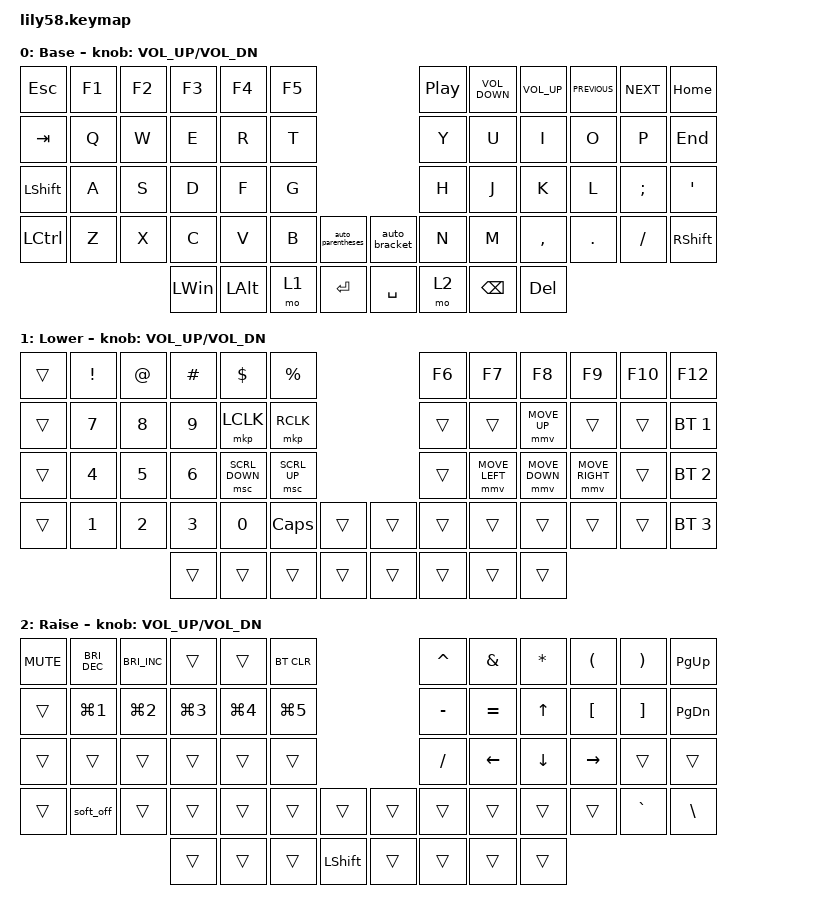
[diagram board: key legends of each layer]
/*
 * Copyright (c) 2020 The ZMK Contributors
 *
 * SPDX-License-Identifier: MIT
 */

#include <behaviors.dtsi>
#include <dt-bindings/zmk/bt.h>
#include <dt-bindings/zmk/keys.h>
#include <dt-bindings/zmk/pointing.h>

/ {
    macros {
        auto_parentheses: auto_parentheses {
            compatible = "zmk,behavior-macro";
            #binding-cells = <0>;
            bindings = <&kp LEFT_PARENTHESIS &kp RIGHT_PARENTHESIS &kp F2 &kp LEFT_ARROW &kp F2>;
            label = "AUTO_PARENTHESES";
        };

        auto_bracket: auto_bracket {
            compatible = "zmk,behavior-macro";
            #binding-cells = <0>;
            bindings = <&kp LEFT_BRACKET &kp RIGHT_BRACKET &kp F2 &kp LEFT &kp F2>;
            label = "AUTO_BRACKET";
        };
    };

    keymap {
        compatible = "zmk,keymap";

        default_layer {
            // ------------------------------------------------------------------------------------------------------------
            // |  ESC  |  1  |  2  |  3   |  4   |  5   |                   |  6   |  7    |  8    |  9   |   0   |   `   |
            // |  TAB  |  Q  |  W  |  E   |  R   |  T   |                   |  Y   |  U    |  I    |  O   |   P   |   -   |
            // |  CTRL |  A  |  S  |  D   |  F   |  G   |                   |  H   |  J    |  K    |  L   |   ;   |   '   |
            // | SHIFT |  Z  |  X  |  C   |  V   |  B   |   "["  |  |  "]"  |  N   |  M    |  ,    |  .   |   /   | SHIFT |
            //                     | ALT  | GUI  | LOWER|  SPACE |  | ENTER | RAISE| BSPC  | GUI   |

            display-name = "Base";
            bindings = <
&kp ESC         &kp F1  &kp F2  &kp F3        &kp F4        &kp F5                                      &kp C_PLAY_PAUSE  &kp C_VOLUME_DOWN  &kp C_VOLUME_UP  &kp C_PREVIOUS  &kp C_NEXT  &kp HOME
&kp TAB         &kp Q   &kp W   &kp E         &kp R         &kp T                                       &kp Y             &kp U              &kp I            &kp O           &kp P       &kp END
&kp LEFT_SHIFT  &kp A   &kp S   &kp D         &kp F         &kp G                                       &kp H             &kp J              &kp K            &kp L           &kp SEMI    &kp SQT
&kp LCTRL       &kp Z   &kp X   &kp C         &kp V         &kp B   &auto_parentheses    &auto_bracket  &kp N             &kp M              &kp COMMA        &kp DOT         &kp FSLH    &kp RSHFT
                                &kp LEFT_WIN  &kp LEFT_ALT  &mo 1   &kp ENTER            &kp SPACE      &mo 2             &kp BSPC           &kp DELETE
            >;

            sensor-bindings = <&inc_dec_kp C_VOL_UP C_VOL_DN>;
        };

        lower_layer {
            // ------------------------------------------------------------------------------------------------------------
            // | BTCLR | BT1 | BT2 |  BT3 |  BT4 |  BT5 |                   |      |       |       |      |       |       |
            // |  F1   |  F2 |  F3 |  F4  |  F5  |  F6  |                   |  F7  |  F8   |  F9   |  F10 |  F11  |  F12  |
            // |   `   |  !  |  @  |  #   |  $   |  %   |                   |  ^   |  &    |  *    |  (   |   )   |   ~   |
            // |       |     |     |      |      |      |        |  |       |      |  _    |  +    |  {   |   }   |  "|"  |
            //                     |      |      |      |        |  |       |      |       |       |

            display-name = "Lower";
            bindings = <
&trans  &kp EXCLAMATION  &kp AT_SIGN   &kp POUND     &kp DOLLAR      &kp PERCENT                     &kp F6  &kp F7          &kp F8          &kp F9           &kp F10  &kp F12
&trans  &kp N7           &kp N8        &kp N9        &mkp LCLK       &mkp RCLK                       &trans  &trans          &mmv MOVE_UP    &trans           &trans   &bt BT_SEL 1
&trans  &kp NUMBER_4     &kp N5        &kp NUMBER_6  &msc SCRL_DOWN  &msc SCRL_UP                    &trans  &mmv MOVE_LEFT  &mmv MOVE_DOWN  &mmv MOVE_RIGHT  &trans   &bt BT_SEL 2
&trans  &kp NUMBER_1     &kp NUMBER_2  &kp NUMBER_3  &kp N0          &kp CAPSLOCK  &trans    &trans  &trans  &trans          &trans          &trans           &trans   &bt BT_SEL 3
                                       &trans        &trans          &trans        &trans    &trans  &trans  &trans          &trans
            >;

            sensor-bindings = <&inc_dec_kp C_VOL_UP C_VOL_DN>;
        };

        raise_layer {
            // ------------------------------------------------------------------------------------------------------------
            // |       |     |     |      |      |      |                   |      |       |       |      |       |       |
            // |   `   |  1  |  2  |  3   |  4   |  5   |                   |  6   |   7   |   8   |  9   |   0   |       |
            // |   F1  |  F2 |  F3 |  F4  |  F5  |  F6  |                   |      |   <-  |   v   |  ^   |  ->   |       |
            // |   F7  |  F8 |  F9 |  F10 |  F11 |  F12 |        |  |       |  +   |   -   |   =   |  [   |   ]   |   \   |
            //                     |      |      |      |        |  |       |      |       |       |

            display-name = "Raise";
            bindings = <
&kp K_MUTE  &kp C_BRIGHTNESS_DEC  &kp C_BRIGHTNESS_INC  &trans            &trans            &bt BT_CLR                            &kp CARET  &kp AMPERSAND  &kp ASTERISK  &kp LEFT_PARENTHESIS  &kp RIGHT_PARENTHESIS  &kp PAGE_UP
&trans      &kp LG(NUMBER_1)      &kp LG(NUMBER_2)      &kp LG(NUMBER_3)  &kp LG(NUMBER_4)  &kp LG(N5)                            &kp MINUS  &kp EQUAL      &kp UP_ARROW  &kp LEFT_BRACKET      &kp RIGHT_BRACKET      &kp PAGE_DOWN
&trans      &trans                &trans                &trans            &trans            &trans                                &kp SLASH  &kp LEFT       &kp DOWN      &kp RIGHT_ARROW       &trans                 &trans
&trans      &soft_off             &trans                &trans            &trans            &trans      &trans            &trans  &trans     &trans         &trans        &trans                &kp GRAVE              &kp BACKSLASH
                                                        &trans            &trans            &trans      &kp LEFT_SHIFT    &trans  &trans     &trans         &trans
            >;

            sensor-bindings = <&inc_dec_kp C_VOL_UP C_VOL_DN>;
        };

        extra_1 { status = "reserved"; };

        extra_2 { status = "reserved"; };

        extra_3 { status = "reserved"; };
    };
};
